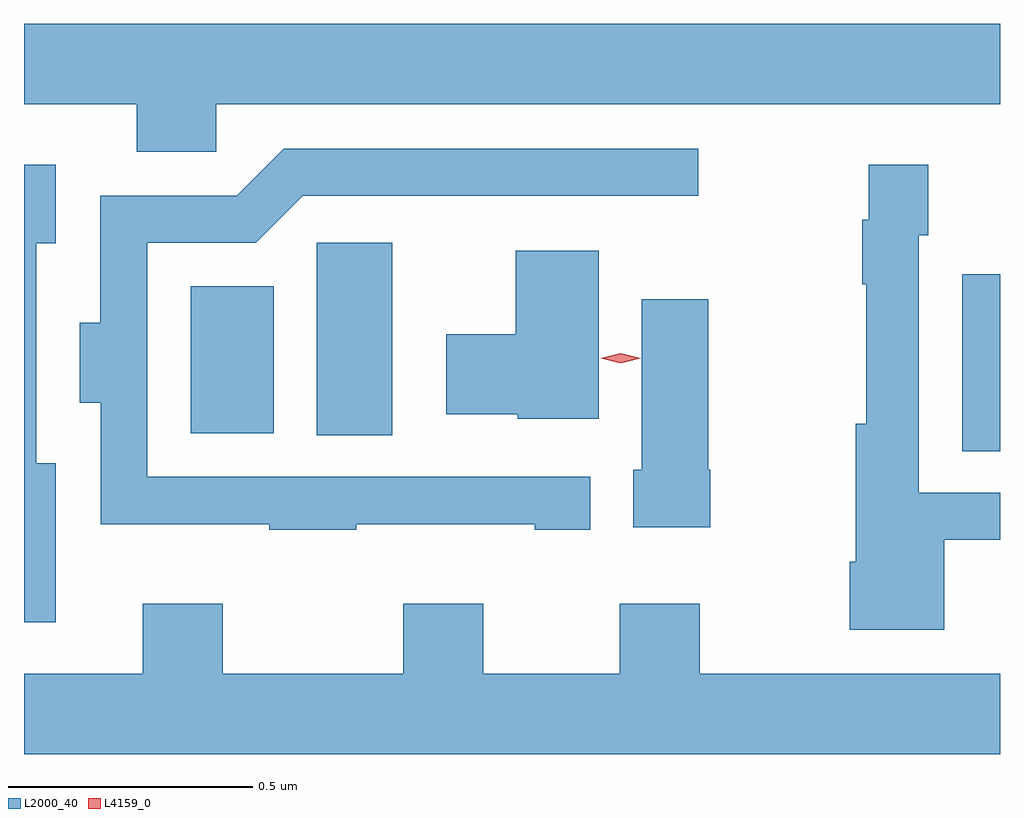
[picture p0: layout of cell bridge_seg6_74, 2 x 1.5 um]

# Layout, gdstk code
import gdstk
lib = gdstk.Library(unit=1e-6, precision=1e-09)
def R(c, l, rs):  # rectangles x0, y0, x1, y1
    for r in rs: c.add(gdstk.rectangle(r[:2], r[2:], *l))
def P(c, l, *ps):  # polygons
    for p in ps: c.add(gdstk.Polygon(p, *l))
L2000_40 = (2000, 40)
L4159_0 = (4159, 0)

bridge_seg6_74 = lib.new_cell('bridge_seg6_74')
R(bridge_seg6_74, L2000_40, [(771.413,978.592,771.49,978.955), (770.09,978.625,770.245,979.02), (769.832,978.629,770.002,978.931)])
P(bridge_seg6_74, L2000_40, [(769.884,979.304),(771.49,979.304),(771.49,979.468),(769.49,979.468),(769.49,979.304),(769.721,979.304),(769.721,979.206),(769.884,979.206)],
  [(770.171,978.443),(770.537,978.443),(770.537,978.432),(770.65,978.432),(770.65,978.54),(769.743,978.54),(769.743,979.02),(769.965,979.02),(770.061,979.116),(770.872,979.116),(770.872,979.212),(770.022,979.212),(769.926,979.116),(769.646,979.116),(769.646,978.856),(769.604,978.856),(769.604,978.692),(769.647,978.692),(769.647,978.443),(769.993,978.443),(769.993,978.432),(770.171,978.432)],
  [(771.376,978.411),(771.49,978.411),(771.49,978.507),(771.324,978.507),(771.324,979.035),(771.343,979.035),(771.343,979.18),(771.221,979.18),(771.221,979.067),(771.208,979.067),(771.208,978.935),(771.216,978.935),(771.216,978.649),(771.194,978.649),(771.194,978.366),(771.182,978.366),(771.182,978.227),(771.376,978.227)],
  [(769.555,978.568),(769.515,978.568),(769.515,979.019),(769.555,979.019),(769.555,979.18),(769.49,979.18),(769.49,978.242),(769.555,978.242)],
  [(770.668,979.003),(770.498,979.003),(770.498,978.832),(770.355,978.832),(770.355,978.668),(770.502,978.668),(770.502,978.659),(770.668,978.659)],
  [(770.896,978.555),(770.892,978.555),(770.892,978.904),(770.756,978.904),(770.756,978.555),(770.738,978.555),(770.738,978.437),(770.896,978.437)],
  [(771.49,978.136),(770.875,978.136),(770.875,978.28),(770.711,978.28),(770.711,978.136),(770.431,978.136),(770.431,978.28),(770.267,978.28),(770.267,978.136),(769.897,978.136),(769.897,978.28),(769.733,978.28),(769.733,978.136),(769.49,978.136),(769.49,977.972),(771.49,977.972)])
P(bridge_seg6_74, L4159_0, [(770.713,978.773),(770.672,978.783),(770.672,978.783),(770.672,978.783),(770.713,978.793),(770.754,978.783),(770.754,978.783),(770.754,978.783)])

lib.write_gds('bridge_seg6_74.gds')
